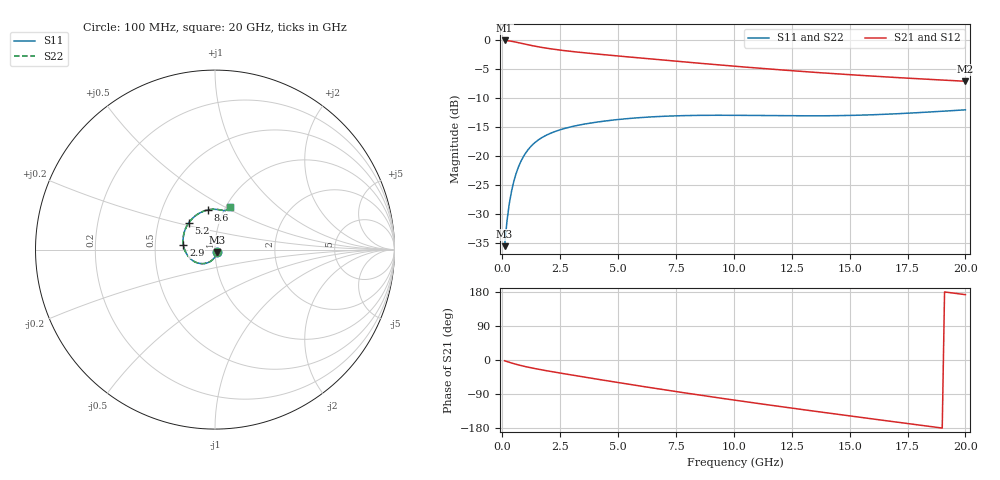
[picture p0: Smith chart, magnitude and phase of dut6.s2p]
! Touchstone file exported from HFSS 2023.1.0
!  File:  D:/Users/fzz/RDL_TSV/temp_RDL_TSV_6_1778742340.aedt
!  Generated:  3:14:08 %x4E0B%x5348  5%x6708 14, 2026
!  Design:  RDL_TSV
!  Project:  temp_RDL_TSV_6_1778742340
!  Setup:  Setup1
!  Solution:  Sweep
! Variables:
!  dtsv = 26.78um
!  hbump = 3um
!  htsv = 67.69um
!  ldown = 306.68um
!  lrdl = 253.65um
!  p = 40
!  p1 = 56.5um
!  rhole = 10um
!  subl = 1934.64um
!  t = 450um
!  tdown = 2.06um
!  trdl = 3.76um
!  viad = 10um
!  wdown = 29.39um
!  wrdl = 18.08um
!  xbump = 18um
# GHz S MA R 50.000000
! Terminal data exported
! Port[1] = TM1_1_T1
! Port[2] = TM1_4_T1
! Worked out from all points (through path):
!   200 points, 100 MHz to 20 GHz, reference 50 ohm
!   highest |S21| = -0.11 dB at 100 MHz (marker M1); lowest = -7.1 dB at 20 GHz (marker M2)
!   group delay of S21, straight-line fit = 24.8 ps
!   lowest |S11| = -35.5 dB at 100 MHz (marker M3), VSWR 1.03, Z = 51 - j1.39 ohm
!   |S11| at or under -10 dB: start of sweep to end of sweep
!   |S22| runs from -35.5 to -12.0 dB; largest |S21 - S12| = 8.8e-15
!   S11 on the Smith chart (normalised r, x): 100 MHz: 1.02, -0.03; 2.9 GHz: 0.70, +0.03; 5.2 GHz: 0.72, +0.22; 8.6 GHz: 0.84, +0.39; 20 GHz: 1.05, +0.53
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0.1  0.01684 -53.9  0.9877 -2.0  0.9877 -2.0  0.01684 -53.9
! Gamma 0 0 0 0
! Port Impedance 50 0 50 0
0.2  0.02744 -76.6  0.9843 -4.1  0.9843 -4.1  0.02744 -76.6
0.3  0.03883 -89.1  0.9789 -6.0  0.9789 -6.0  0.03883 -89.1
0.4  0.05012 -98.1  0.9719 -7.9  0.9719 -7.9  0.05011 -98.1
0.6  0.07127 -111.7  0.9547 -11.4  0.9547 -11.4  0.07126 -111.7
0.7  0.08092 -117.4  0.9453 -13.0  0.9453 -13.0  0.08091 -117.4
0.9  0.09818 -127.6  0.9261 -16.0  0.9261 -16.0  0.09816 -127.6
1.2  0.1192 -140.5  0.8989 -20.1  0.8989 -20.1  0.1192 -140.6
1.6  0.1399 -154.8  0.8678 -24.8  0.8678 -24.8  0.1398 -154.8
2.2  0.1608 -171.9  0.831 -31.4  0.831 -31.4  0.1608 -172.0
2.9  0.1774 172.2  0.7983 -38.6  0.7983 -38.6  0.1775 172.2
3.5  0.188 160.8  0.7752 -44.6  0.7752 -44.6  0.1881 160.8
5.2  0.2084 134.9  0.7203 -61.4  0.7203 -61.4  0.2086 134.9
6.8  0.2194 116.3  0.6744 -76.7  0.6744 -76.7  0.2198 116.2
8.6  0.2244 100.4  0.6271 -93.3  0.6271 -93.3  0.2248 100.3
10.1  0.2244 90.7  0.5917 -106.5  0.5917 -106.5  0.225 90.6
11.7  0.2229 83.5  0.5582 -120.2  0.5582 -120.2  0.2235 83.3
13.4  0.2221 78.5  0.5271 -134.4  0.5271 -134.4  0.2226 78.3
15  0.224 75.7  0.5017 -147.5  0.5017 -147.5  0.2244 75.4
16.7  0.2299 73.8  0.4782 -161.2  0.4782 -161.2  0.2301 73.4
18.3  0.2387 72.3  0.4589 -174.0  0.4589 -174.0  0.2387 71.9
20  0.2502 70.5  0.4404 172.5  0.4404 172.5  0.25 70.2
